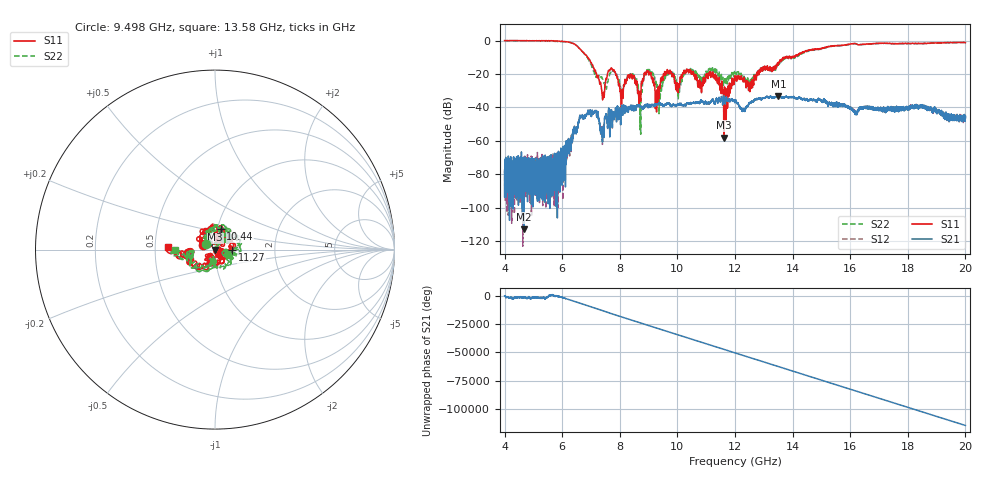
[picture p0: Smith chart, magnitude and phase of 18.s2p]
[Version] 2.0
! Rohde & Schwarz Vector Network Analyzer
! Rohde-Schwarz,ZNL20-2Port,1323001220200009,1.71.1.10-23.02.1.238
! Port Assignments:
! Nominal Port -> Actual Test Port
!  1 -> 1
!  2 -> 2
! Created: GMT+2 2025-01-17 12:12:37
# Hz S RI R 50
[Number of Ports] 2
[Two-Port Data Order] 21_12
! freq[Hz]  S11[Re]  S11[Im]  S21[Re]  S21[Im]  S12[Re]  S12[Im]  S22[Re]  S22[Im]
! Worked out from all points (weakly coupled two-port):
!   16001 points, 4 GHz to 20 GHz, reference 50 ohm
!   highest |S21| = -33.06 dB at 13.51 GHz (marker M1); lowest = -112.8 dB at 4.662 GHz (marker M2)
!   lowest |S11| = -58.0 dB at 11.61 GHz (marker M3), VSWR 1.00, Z = 50.1 - j0.0663 ohm
!   |S11| at or under -10 dB: 6.885 GHz to 13.7 GHz (6.816 GHz wide, 66.2 % of centre); 13.71238 GHz to 13.74181 GHz (29.44 MHz wide, 0.214 % of centre); 13.94235 GHz to 13.96601 GHz (23.66 MHz wide, 0.17 % of centre) (the widest 3 of 9)
!   |S22| runs from -56.0 to 0.0 dB; largest |S21 - S12| = 0.0027
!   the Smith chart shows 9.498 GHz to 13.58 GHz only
!   S11 on the Smith chart (normalised r, x): 9.498 GHz: 0.87, +0.04; 10.44 GHz: 1.04, +0.24; 11.27 GHz: 1.21, -0.00; 13.58 GHz: 0.58, +0.02
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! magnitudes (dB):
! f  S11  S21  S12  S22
! 4 GHz  0.0  -77.4  -79.5  -0.2
! 4.662 GHz  0.0  -112.8  -83.4  -0.2
! 5.787 GHz  -0.2  -73.0  -77.2  -0.4
! 6.667 GHz  -6.0  -45.6  -45.3  -6.1
! 7.167 GHz  -19.2  -42.1  -42.0  -21.8
! 7.41 GHz  -34.4  -55.9  -55.0  -23.2
! 7.725 GHz  -16.8  -44.4  -44.5  -18.8
! 8.048 GHz  -39.5  -41.2  -41.2  -32.5
! 8.429 GHz  -22.8  -40.8  -41.0  -21.5
! 8.715 GHz  -35.0  -39.3  -39.2  -38.8
! 9.005 GHz  -20.5  -38.5  -38.4  -18.7
! 9.334 GHz  -27.8  -38.0  -38.0  -31.1
! 9.498 GHz  -22.7  -38.7  -38.6  -24.5
! 10.44 GHz  -18.6  -37.6  -37.7  -17.9
! 11.27 GHz  -20.4  -36.9  -37.0  -17.7
! 11.61 GHz  -58.0  -33.4  -33.5  -24.9
! 12 GHz  -22.1  -36.9  -36.9  -19.7
! 13.51 GHz  -14.1  -33.1  -33.2  -14.1
! 13.58 GHz  -11.6  -33.8  -33.8  -12.9
! 14.67 GHz  -5.4  -35.6  -35.4  -5.9
! 17.33 GHz  -1.7  -41.0  -40.9  -1.8
! 20 GHz  -1.2  -45.5  -46.9  -1.2
